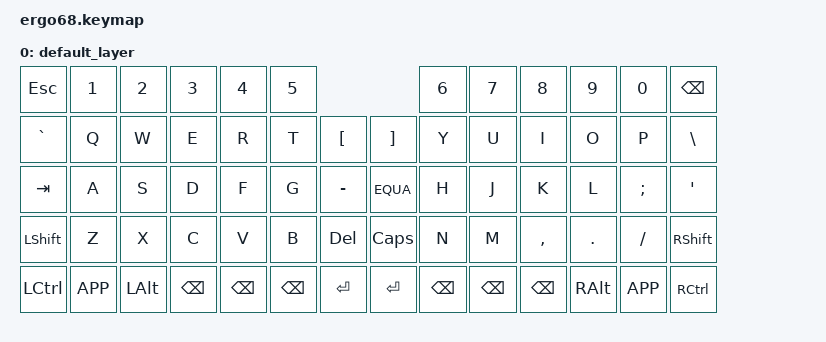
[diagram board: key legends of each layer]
/*
 * Copyright (c) 2020 The ZMK Contributors
 *
 * SPDX-License-Identifier: MIT
 */

#include <behaviors.dtsi>
#include <dt-bindings/zmk/keys.h>
#include <dt-bindings/zmk/bt.h>

/ {
        keymap {
                compatible = "zmk,keymap";

                default_layer {
// -----------------------------------------------------------------------------------------
// |  ESC |  1  |  2  |  3  |  4  |  5  |                           |  6  |  7   |  8  |  9  |  0  | BSPC |
// |  `   |  Q  |  W  |  E  |  R  |  T  |  [  |               |  ]  |  Y  |  U   |  I  |  O  |  P  |  \   |
// |  TAB |  A  |  S  |  D  |  F  |  G  |  -  |               |  =  |  H  |  J   |  K  |  L  |  ;  |  "   |
// | SHFT |  Z  |  X  |  C  |  V  |  B  | DEL |               | CAPS|  N  |  M   |  ,  |  .  |  /  | SHFT |
// | CTRL | WIN | ALT | SPC | SPC | SPC | ENT |               | ENT | SPC | SPC  | SPC | ALT | APP | CRRL |
                        bindings = <
   &kp ESC   &kp N1    &kp N2   &kp N3   &kp N4   &kp N5                          &kp N6    &kp N7     &kp N8    &kp N9   &kp N0    &kp BSPC
   &kp GRAV  &kp Q     &kp W    &kp E    &kp R    &kp T    &kp LBKT     &kp RBKT  &kp Y     &kp U      &kp I     &kp O    &kp P     &kp BSLH
   &kp TAB   &kp A     &kp S    &kp D    &kp F    &kp G    &kp MINUS    &kp EQUA  &kp H     &kp J      &kp K     &kp L    &kp SEMI  &kp SQT
   &kp LSHFT &kp Z     &kp X    &kp C    &kp V    &kp B    &kp DEL      &kp CAPS  &kp N     &kp M      &kp COMMA &kp DOT  &kp FSLH  &kp RSHFT
   &kp LCTRL &kp K_APP &kp LALT &kp BSPC &kp BSPC &kp BSPC &kp ENTER    &kp ENTER &kp BSPC  &kp BSPC   &kp BSPC  &kp RALT &kp K_APP &kp RCTRL
                        >;
                };
        };
};
